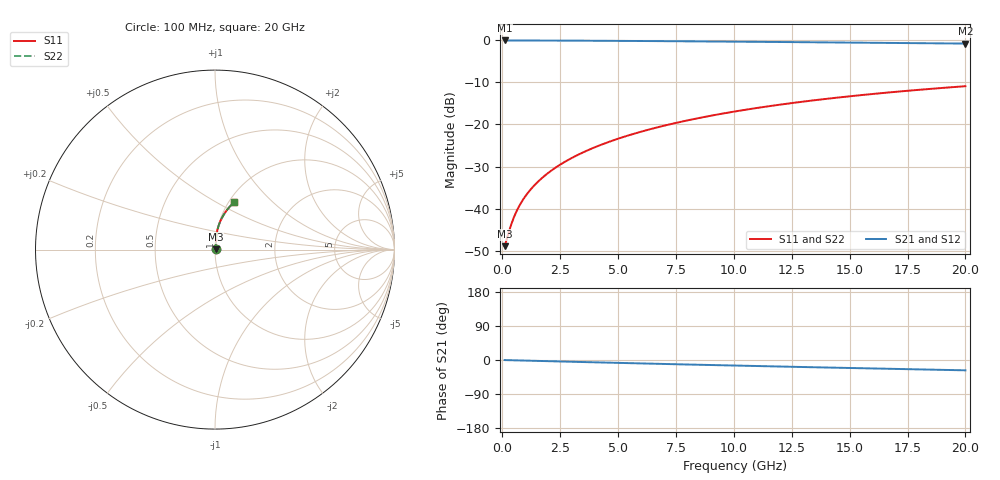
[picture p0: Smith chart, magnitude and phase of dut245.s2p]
! Touchstone file exported from HFSS 2024.1.0
!  File:  C:/UserFiles/LocalFiles/RDL_TSV_Batchsim/temp_RDL_bottom_245_1778701458.aedt
!  Generated:  03:47:01 AM May 14, 2026
!  Design:  RDL_bottom
!  Project:  temp_RDL_bottom_245_1778701458
!  Setup:  Setup1
!  Solution:  Sweep
! Variables:
!  dtsv = 10.80580581um
!  hbump = 3um
!  htsv = 70.71um
!  ldown = 349.66um
!  lrdl = 100um
!  p = 40
!  p1 = 47.37um
!  rhole = 1um
!  t = 450um
!  tdown = 2.03um
!  trdl = 3.915915916um
!  wdown = 20.99um
!  wrdl = 20um
# GHz S MA R 50.000000
! Terminal data exported
! Port[1] = RDL1_T1
! Port[2] = RDL1_T2
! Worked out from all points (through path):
!   200 points, 100 MHz to 20 GHz, reference 50 ohm
!   highest |S21| = -0.03 dB at 100 MHz (marker M1); lowest = -0.8 dB at 20 GHz (marker M2)
!   group delay of S21, straight-line fit = 3.76 ps
!   lowest |S11| = -48.9 dB at 100 MHz (marker M3), VSWR 1.01, Z = 50.3 + j0.145 ohm
!   |S11| at or under -10 dB: start of sweep to end of sweep
!   |S22| runs from -48.9 to -10.9 dB; largest |S21 - S12| = 5.2e-15
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0.1  0.00358 23.7  0.9967 -0.2  0.9967 -0.2  0.00358 23.7
! Gamma 0 0 0 0
! Port Impedance 50 0 50 0
0.4  0.00665 58.1  0.9964 -0.7  0.9964 -0.7  0.00665 58.1
0.5  0.007873 62.7  0.9963 -0.8  0.9963 -0.8  0.007873 62.7
0.6  0.009111 66.0  0.9961 -1.0  0.9961 -1.0  0.009111 66.0
0.7  0.01035 68.5  0.996 -1.1  0.996 -1.1  0.01035 68.5
0.9  0.01284 72.1  0.9957 -1.4  0.9957 -1.4  0.01284 72.1
1.2  0.01659 75.6  0.9953 -1.9  0.9953 -1.9  0.01659 75.6
1.4  0.01911 77.3  0.995 -2.2  0.995 -2.2  0.01911 77.3
1.7  0.02293 79.2  0.9945 -2.7  0.9945 -2.7  0.02293 79.2
2.2  0.0294 81.3  0.9936 -3.4  0.9936 -3.4  0.0294 81.3
2.8  0.03732 82.9  0.9923 -4.4  0.9923 -4.4  0.03732 82.9
3.5  0.04677 83.9  0.9904 -5.4  0.9904 -5.4  0.04677 83.9
4.2  0.05644 84.4  0.9883 -6.5  0.9883 -6.5  0.05644 84.4
5  0.06775 84.6  0.9856 -7.6  0.9856 -7.6  0.06775 84.5
5.9  0.08075 84.4  0.9823 -8.9  0.9823 -8.9  0.08075 84.4
6.8  0.094 83.9  0.9787 -10.2  0.9787 -10.2  0.09399 83.9
8.4  0.1179 82.6  0.9719 -12.4  0.9719 -12.4  0.1179 82.6
10.1  0.1436 80.8  0.9643 -14.8  0.9643 -14.8  0.1436 80.7
11.7  0.1677 78.8  0.9568 -16.9  0.9568 -16.9  0.1677 78.8
13.4  0.193 76.6  0.9487 -19.1  0.9487 -19.1  0.193 76.6
16.7  0.2404 72.2  0.9323 -23.2  0.9323 -23.2  0.2404 72.2
20  0.2851 67.9  0.9153 -27.3  0.9153 -27.3  0.2851 67.9
